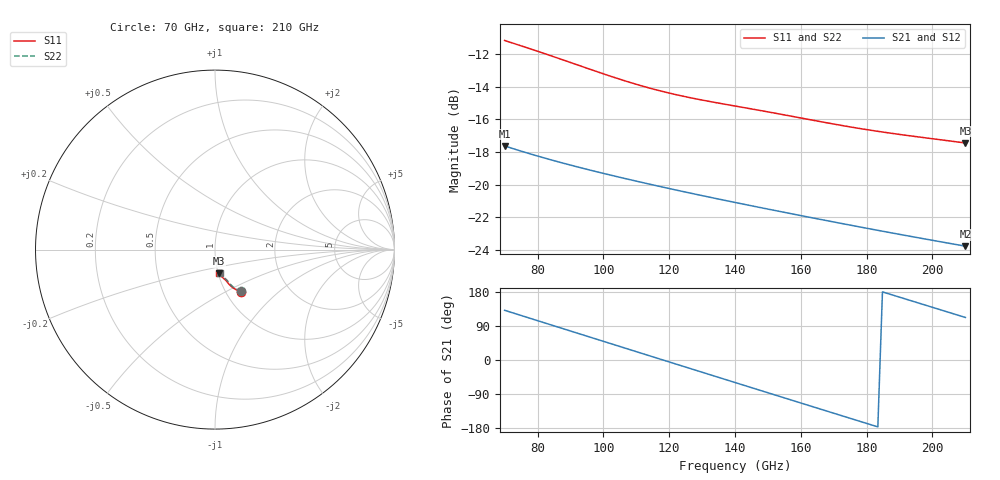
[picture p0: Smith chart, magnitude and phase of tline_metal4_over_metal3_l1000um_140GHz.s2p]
#  GHZ S DB R 50
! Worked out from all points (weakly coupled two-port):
!   101 points, 70 GHz to 210 GHz, reference 50 ohm
!   highest |S21| = -17.63 dB at 70 GHz (marker M1); lowest = -23.8 dB at 210 GHz (marker M2)
!   lowest |S11| = -17.5 dB at 210 GHz (marker M3), VSWR 1.31, Z = 50.4 - j13.6 ohm
!   |S11| at or under -10 dB: start of sweep to end of sweep
!   |S22| runs from -17.6 to -11.2 dB; largest |S21 - S12| = 8.6e-14
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70  -11.17 -58.5  -17.63 131.2  -17.63 131.2  -11.20 -57.7
75.6  -11.53 -60.2  -17.99 115.9  -17.99 115.9  -11.57 -59.4
81.2  -11.91 -62.0  -18.32 100.6  -18.32 100.6  -11.95 -61.1
86.8  -12.29 -63.7  -18.64 85.3  -18.64 85.3  -12.34 -62.7
93.8  -12.78 -65.5  -19.01 66.2  -19.01 66.2  -12.84 -64.4
100.8  -13.26 -67.0  -19.36 47.1  -19.36 47.1  -13.33 -65.8
106.4  -13.63 -67.9  -19.62 31.9  -19.62 31.9  -13.69 -66.6
112  -13.97 -68.7  -19.88 16.6  -19.88 16.6  -14.03 -67.2
117.6  -14.27 -69.3  -20.14 1.4  -20.14 1.4  -14.33 -67.8
127.4  -14.72 -70.3  -20.57 -25.2  -20.57 -25.2  -14.77 -68.7
134.4  -14.98 -71.2  -20.87 -44.2  -20.87 -44.2  -15.03 -69.5
140  -15.19 -71.9  -21.10 -59.4  -21.10 -59.4  -15.23 -70.3
145.6  -15.39 -72.8  -21.33 -74.5  -21.33 -74.5  -15.44 -71.1
151.2  -15.59 -73.7  -21.56 -89.7  -21.56 -89.7  -15.64 -72.0
156.8  -15.80 -74.6  -21.78 -104.8  -21.78 -104.8  -15.86 -72.9
163.8  -16.06 -75.6  -22.06 -123.7  -22.06 -123.7  -16.13 -73.9
170.8  -16.32 -76.5  -22.33 -142.6  -22.33 -142.6  -16.39 -74.7
176.4  -16.52 -77.1  -22.55 -157.7  -22.55 -157.7  -16.59 -75.3
182  -16.70 -77.7  -22.76 -172.7  -22.76 -172.7  -16.77 -75.9
187.6  -16.86 -78.2  -22.97 172.2  -22.97 172.2  -16.94 -76.4
200.2  -17.20 -79.6  -23.43 138.5  -23.43 138.5  -17.30 -77.8
210  -17.45 -80.8  -23.78 112.2  -23.78 112.2  -17.56 -79.0
